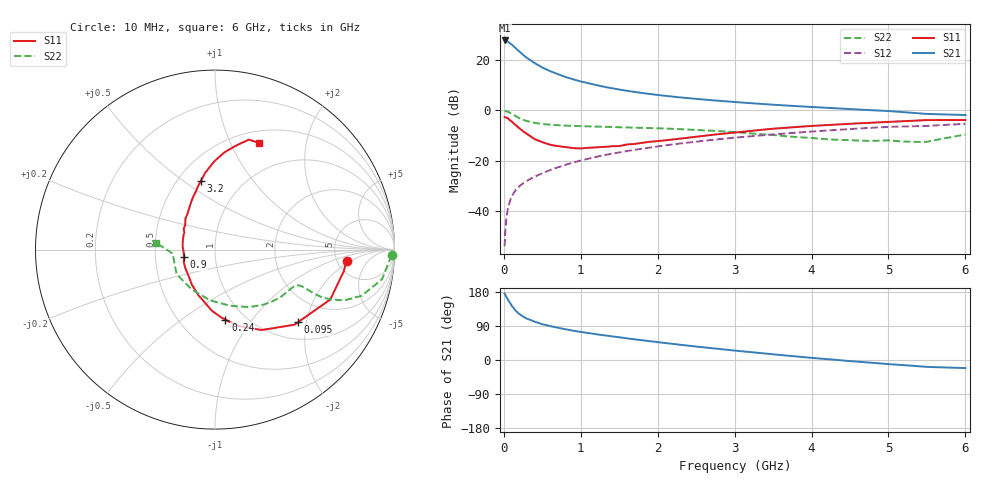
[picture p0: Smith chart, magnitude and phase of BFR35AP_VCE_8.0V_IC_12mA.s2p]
! Infineon Technologies  Discrete & RF Semiconductors
! BFR35AP
! VCE =  8.0 V,  IC =  12 mA
! Common Emitter S-Parameters:  Nov 2015
# GHz  S  MA  R  50
!  f  S11  S21  S12  S22
! GHz  MAG  ANG  MAG  ANG  MAG  ANG  MAG  ANG
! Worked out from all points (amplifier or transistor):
!   210 points, 10 MHz to 6 GHz, reference 50 ohm
!   highest |S21| = 27.8 dB at 10 MHz (marker M1)
!   |S21| within 3 dB of that: start of sweep to 151.1 MHz
!   unconditionally stable (mu >= 1): 578 MHz to 2.819 GHz
!   at 185 MHz: K = 0.57, MSG = 27.3 dB, |S12| = -30.7 dB
!   at 1.52 GHz: K = 1.09, MAG = 10.6 dB, |S12| = -16.6 dB
!   at 6 GHz: K = 0.89, MSG = 1.7 dB, |S12| = -5.3 dB
!   S11 on the Smith chart (normalised r, x): 10 MHz: 6.10, -1.67; 95 MHz: 1.37, -1.79; 240 MHz: 0.81, -0.75; 900 MHz: 0.70, -0.06; 3.2 GHz: 0.65, +0.58; 6 GHz: 0.64, +1.29
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0.01  0.7358 -4.9  24.53 175.4  0.002 85.8  0.9853 -1.9
0.02  0.7274 -9.6  24.26 171.2  0.0043 85.9  0.9707 -4.1
0.05  0.6999 -23.4  23.45 160.1  0.0106 78.1  0.9456 -10.0
0.095  0.6144 -41.2  20.77 145.6  0.0183 71.8  0.8658 -16.6
0.1  0.6091 -43.4  20.56 143.8  0.0192 71.4  0.8577 -17.4
0.15  0.5175 -60.0  17.43 130.5  0.0256 66.7  0.7729 -21.5
0.2  0.444 -73.2  14.88 121.4  0.0307 65.0  0.7019 -23.3
0.24  0.3955 -81.5  13.11 116.0  0.0346 63.9  0.6602 -23.9
0.3  0.341 -92.9  11.04 108.9  0.0398 64.6  0.6135 -24.0
0.4  0.2692 -110.4  8.706 101.0  0.0483 65.1  0.5647 -23.5
0.5  0.234 -123.4  7.107 94.4  0.056 66.3  0.5353 -23.0
0.6  0.2078 -135.2  6.033 89.5  0.0651 66.8  0.5189 -22.9
0.7  0.1952 -147.5  5.242 85.0  0.0736 67.0  0.5075 -23.2
0.9  0.1778 -166.0  4.135 77.3  0.0919 67.1  0.491 -24.1
1.02  0.1761 -178.0  3.694 73.6  0.1024 67.0  0.4851 -25.1
1.4  0.1936 155.1  2.759 62.5  0.1368 65.1  0.4695 -29.5
2.02  0.2466 129.4  2.007 46.7  0.1942 60.3  0.4402 -39.0
3.1  0.3766 103.4  1.429 23.0  0.296 49.3  0.3594 -62.5
3.2  0.39 101.7  1.393 21.1  0.3051 48.1  0.3491 -65.4
4.1  0.5007 89.3  1.145 4.0  0.3887 37.6  0.2747 -100.0
5.1  0.5992 77.5  0.946 -12.2  0.4735 23.7  0.2463 -152.5
6  0.6433 67.4  0.809 -21.3  0.541 13.3  0.3312 173.2
